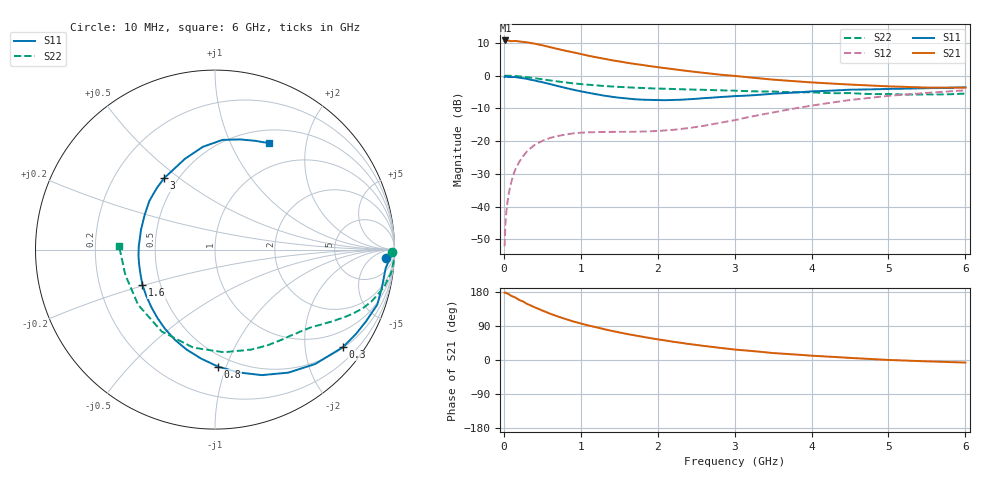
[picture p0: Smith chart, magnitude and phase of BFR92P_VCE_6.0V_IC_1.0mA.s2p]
! Infineon Technologies  Discrete & RF Semiconductors
! BFR92P
! VCE =  6.0 V,  IC =  1.0 mA
! Common Emitter S-Parameters:  Apr 2014
# GHz  S  MA  R  50
!  f  S11  S21  S12  S22
! GHz  MAG  ANG  MAG  ANG  MAG  ANG  MAG  ANG
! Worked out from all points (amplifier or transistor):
!   77 points, 10 MHz to 6 GHz, reference 50 ohm
!   highest |S21| = 10.8 dB at 20 MHz (marker M1)
!   |S21| within 3 dB of that: start of sweep to 775.6 MHz
!   unconditionally stable (mu >= 1): 1.666 GHz to 3.195 GHz
!   at 130 MHz: K = 0.07, MSG = 20.2 dB, |S12| = -29.8 dB
!   at 2.2 GHz: K = 1.16, MAG = 6.9 dB, |S12| = -16.5 dB
!   at 6 GHz: K = 0.93, MSG = 0.4 dB, |S12| = -4.4 dB
!   S11 on the Smith chart (normalised r, x): 10 MHz: 20, -20; 300 MHz: 0.52, -2.87; 800 MHz: 0.41, -0.94; 1.6 GHz: 0.40, -0.20; 3 GHz: 0.42, +0.44; 6 GHz: 0.66, +1.41
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0.01  0.9521 -2.9  3.36 177.6  0.0025 90.2  0.9872 -0.7
0.02  0.9908 -0.7  3.456 178.1  0.0054 87.3  1 -0.9
0.04  0.9669 -4.3  3.444 176.1  0.0101 88.0  1 -1.9
0.06  0.9549 -7.5  3.423 173.9  0.0148 86.2  1 -2.9
0.12  0.9531 -15.2  3.38 167.3  0.0296 80.6  0.9923 -6.0
0.15  0.9549 -18.7  3.4 164.9  0.0374 79.0  0.9897 -7.6
0.2  0.9318 -25.3  3.337 158.4  0.0483 74.4  0.9757 -10.0
0.3  0.8962 -37.4  3.238 148.3  0.0697 67.5  0.9483 -14.5
0.4  0.8472 -48.8  3.095 139.1  0.0877 61.0  0.9171 -18.5
0.5  0.7982 -59.2  2.916 130.6  0.1012 55.6  0.8831 -21.9
0.6  0.7462 -69.6  2.733 122.3  0.1123 51.1  0.8493 -24.7
0.8  0.6522 -88.5  2.41 108.3  0.1263 43.0  0.7899 -29.4
0.9  0.6119 -97.3  2.277 101.9  0.1318 40.5  0.7661 -31.5
1.1  0.549 -114.2  2.02 91.1  0.1368 37.0  0.7288 -34.8
1.4  0.4776 -138.1  1.728 77.0  0.1389 34.9  0.6854 -39.4
1.6  0.45 -153.9  1.579 68.7  0.1392 35.4  0.6664 -42.6
2.1  0.4234 171.3  1.305 51.5  0.1464 42.6  0.6322 -50.7
3  0.4884 125.5  0.994 27.6  0.2096 55.6  0.5921 -70.2
3.1  0.4935 121.9  0.968 25.9  0.2226 55.5  0.5854 -73.1
4.1  0.5822 94.5  0.779 10.3  0.3643 49.9  0.5508 -106.5
5.1  0.6315 75.9  0.683 -0.6  0.5033 33.8  0.5207 -148.2
6  0.6646 63.2  0.658 -6.7  0.5993 18.6  0.5346 178.0
